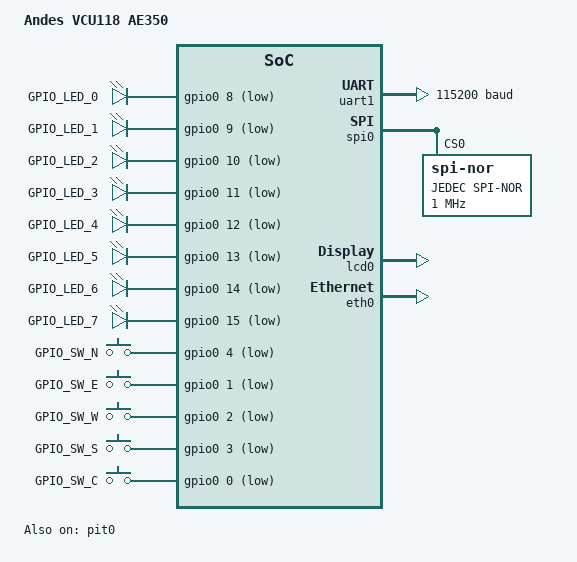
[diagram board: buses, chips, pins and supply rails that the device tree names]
/*
 * Copyright (c) 2021 Andes Technology Corporation
 *
 * SPDX-License-Identifier: Apache-2.0
 */

/dts-v1/;

#include <andes_v5_ae350.dtsi>

/ {
	model = "Andes VCU118 AE350";
	compatible = "andestech,vcu118_ae350";

	aliases {
		gpio-0 = &gpio0;
		counter-0 = &pit0;
		spi-0 = &spi0;
		lcd-0 = &lcd0;
		eth-0 = &eth0;

		led0 = &green_led1;
		led1 = &green_led2;
		sw0 = &button_center;
	};

	chosen {
		zephyr,console = &uart1;
		zephyr,shell-uart = &uart1;
		zephyr,sram = &dram;
		zephyr,flash = &flash0;
	};

	leds {
		compatible = "gpio-leds";

		green_led1: led_1 {
			label = "GPIO_LED_0";
			gpios = <&gpio0 8 GPIO_ACTIVE_LOW>;
		};
		green_led2: led_2 {
			label = "GPIO_LED_1";
			gpios = <&gpio0 9 GPIO_ACTIVE_LOW>;
		};
		green_led3: led_3 {
			label = "GPIO_LED_2";
			gpios = <&gpio0 10 GPIO_ACTIVE_LOW>;
		};
		green_led4: led_4 {
			label = "GPIO_LED_3";
			gpios = <&gpio0 11 GPIO_ACTIVE_LOW>;
		};
		green_led5: led_5 {
			label = "GPIO_LED_4";
			gpios = <&gpio0 12 GPIO_ACTIVE_LOW>;
		};
		green_led6: led_6 {
			label = "GPIO_LED_5";
			gpios = <&gpio0 13 GPIO_ACTIVE_LOW>;
		};
		green_led7: led_7 {
			label = "GPIO_LED_6";
			gpios = <&gpio0 14 GPIO_ACTIVE_LOW>;
		};
		green_led8: led_8 {
			label = "GPIO_LED_7";
			gpios = <&gpio0 15 GPIO_ACTIVE_LOW>;
		};
	};

	gpio_keys {
		compatible = "gpio-keys";

		button_north: button_1 {
			label = "GPIO_SW_N";
			gpios = <&gpio0 4 GPIO_ACTIVE_LOW>;
		};
		button_east: button_2 {
			label = "GPIO_SW_E";
			gpios = <&gpio0 1 GPIO_ACTIVE_LOW>;
		};
		button_west: button_3 {
			label = "GPIO_SW_W";
			gpios = <&gpio0 2 GPIO_ACTIVE_LOW>;
		};
		button_south: button_4 {
			label = "GPIO_SW_S";
			gpios = <&gpio0 3 GPIO_ACTIVE_LOW>;
		};
		button_center: button_5 {
			label = "GPIO_SW_C";
			gpios = <&gpio0 0 GPIO_ACTIVE_LOW>;
		};
	};
};

/* Note: AE350 on VCU118 doesn't have I2C and 2nd SPI */
/delete-node/ &i2c0;
/delete-node/ &spi1;

&uart1 {
	status = "okay";
	clock-frequency = <19660800>;
	current-speed = <115200>;
};

&gpio0 {
	status = "okay";
};

&pit0 {
	status = "okay";
};

&spi0 {
	status = "okay";
	flash0: flash@0 {
		compatible = "jedec,spi-nor";
		size = <16777216>;
		label = "JEDEC SPI-NOR";
		spi-max-frequency = <1000000>;
		reg = <0>;
		status = "okay";
		jedec-id = [c2 25 35];
	};
};

&lcd0 {
	status = "okay";
};
&eth0 {
	status = "okay";
};
